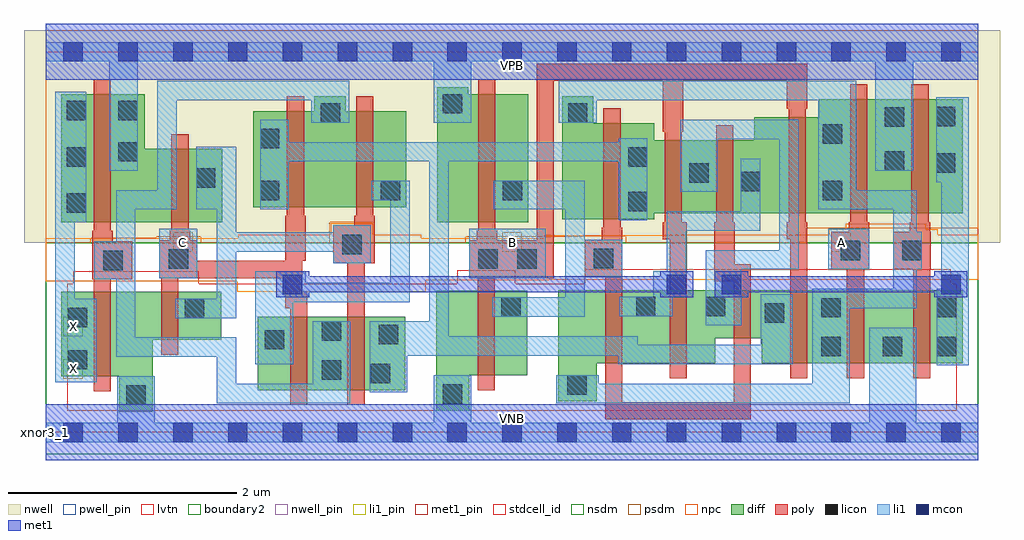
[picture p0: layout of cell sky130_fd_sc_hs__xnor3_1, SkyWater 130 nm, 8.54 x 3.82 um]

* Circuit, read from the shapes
.subckt sky130_fd_sc_hs__xnor3_1 A B C VGND VNB VPB VPWR X
XM1 VGND n1 X VNB sky130_fd_pr__nfet_01v8_lvt w=0.74 l=0.15
XM2 n2 C VGND VNB sky130_fd_pr__nfet_01v8_lvt w=0.42 l=0.15
XM3 n1 C n3 VNB sky130_fd_pr__nfet_01v8_lvt w=0.64 l=0.15
XM4 n4 n2 n1 VNB sky130_fd_pr__nfet_01v8_lvt w=0.64 l=0.15
XM5 n5 B VGND VNB sky130_fd_pr__nfet_01v8_lvt w=0.74 l=0.15
XM6 n3 n5 n6 VNB sky130_fd_pr__nfet_01v8_lvt w=0.64 l=0.15
XM7 n7 B n3 VNB sky130_fd_pr__nfet_01v8_lvt w=0.64 l=0.15
XM8 n4 n5 n7 VNB sky130_fd_pr__nfet_01v8_lvt w=0.42 l=0.15
XM9 n6 B n4 VNB sky130_fd_pr__nfet_01v8_lvt w=0.64 l=0.15
XM10 VGND A n6 VNB sky130_fd_pr__nfet_01v8_lvt w=0.64 l=0.15
XM11 n7 n6 VGND VNB sky130_fd_pr__nfet_01v8_lvt w=0.64 l=0.15
XM12 VPWR n1 X VPB sky130_fd_pr__pfet_01v8 w=1.12 l=0.15
XM13 n2 C VPWR VPB sky130_fd_pr__pfet_01v8 w=0.64 l=0.15
XM14 n1 C n4 VPB sky130_fd_pr__pfet_01v8 w=0.84 l=0.15
XM15 n3 n2 n1 VPB sky130_fd_pr__pfet_01v8 w=0.84 l=0.15
XM16 n5 B VPWR VPB sky130_fd_pr__pfet_01v8 w=1.12 l=0.15
XM17 n4 n5 n6 VPB sky130_fd_pr__pfet_01v8 w=0.84 l=0.15
XM18 n7 B n4 VPB sky130_fd_pr__pfet_01v8 w=0.64 l=0.15
XM19 n3 n5 n7 VPB sky130_fd_pr__pfet_01v8 w=0.64 l=0.15
XM20 n6 B n3 VPB sky130_fd_pr__pfet_01v8 w=0.84 l=0.15
XM21 VPWR A n6 VPB sky130_fd_pr__pfet_01v8 w=1 l=0.15
XM22 n7 n6 VPWR VPB sky130_fd_pr__pfet_01v8 w=1 l=0.15
.ends

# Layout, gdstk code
import gdstk
lib = gdstk.Library(unit=1e-6, precision=1e-09)
def R(c, l, rs):  # rectangles x0, y0, x1, y1
    for r in rs: c.add(gdstk.rectangle(r[:2], r[2:], *l))
def A(c, l, x, y, w, h, nx, ny, dx, dy):  # array of equal rectangles
    R(c, l, [(x+i*dx, y+j*dy, x+i*dx+w, y+j*dy+h) for i in range(nx) for j in range(ny)])
def P(c, l, *ps):  # polygons
    for p in ps: c.add(gdstk.Polygon(p, *l))
nwell_pin = (64, 16)
nwell = (64, 20)
diff = (65, 20)
poly = (66, 20)
licon = (66, 44)
li1_pin = (67, 16)
li1 = (67, 20)
mcon = (67, 44)
met1_pin = (68, 16)
met1 = (68, 20)
stdcell_id = (81, 4)
nsdm = (93, 44)
psdm = (94, 20)
npc = (95, 20)
pwell_pin = (122, 16)
lvtn = (125, 44)
boundary2 = (236, 0)

sky130_fd_sc_hs__xnor3_1 = lib.new_cell('sky130_fd_sc_hs__xnor3_1')
R(sky130_fd_sc_hs__xnor3_1, nwell_pin, [(0,3.085,8.16,3.33)])
R(sky130_fd_sc_hs__xnor3_1, nwell, [(-0.19,1.66,8.35,3.52)])
R(sky130_fd_sc_hs__xnor3_1, diff, [(1.855,0.37,3.145,1.01)])
P(sky130_fd_sc_hs__xnor3_1, diff, [(1.545,2.48),(0.865,2.48),(0.865,2.96),(0.135,2.96),(0.135,1.84),(1.545,1.84)],
  [(1.535,1.23),(0.135,1.23),(0.135,0.49),(0.645,0.49),(0.645,0.18),(0.935,0.18),(0.935,0.81),(1.535,0.81)],
  [(3.155,2.81),(2.625,2.81),(2.625,2.94),(2.35,2.94),(2.35,2.81),(1.815,2.81),(1.815,1.97),(3.155,1.97)],
  [(4.215,1.24),(3.415,1.24),(3.415,0.19),(3.705,0.19),(3.705,0.5),(4.215,0.5)],
  [(4.22,2.96),(3.695,2.96),(3.695,3.02),(3.425,3.02),(3.425,1.84),(4.22,1.84)],
  [(8.025,2.915),(6.765,2.915),(6.765,2.755),(6.2,2.755),(6.2,2.555),(5.325,2.555),(5.325,2.705),(4.79,2.705),(4.79,2.94),(4.52,2.94),(4.52,1.865),(5.325,1.865),(5.325,1.915),(8.025,1.915)],
  [(8.025,1.245),(4.485,1.245),(4.485,0.27),(4.82,0.27),(4.82,0.605),(5.86,0.605),(5.86,0.825),(6.265,0.825),(6.265,0.605),(8.025,0.605)])
P(sky130_fd_sc_hs__xnor3_1, poly, [(7.745,1.755),(7.74,1.755),(7.74,1.84),(7.725,1.84),(7.725,3.045),(7.575,3.045),(7.575,1.84),(7.56,1.84),(7.56,1.755),(7.415,1.755),(7.415,1.425),(7.59,1.425),(7.59,0.475),(7.74,0.475),(7.74,1.425),(7.745,1.425)],
  [(7.205,1.84),(7.19,1.84),(7.19,3.045),(7.04,3.045),(7.04,1.84),(7.025,1.84),(7.025,1.755),(6.875,1.755),(6.875,1.425),(7.01,1.425),(7.01,0.475),(7.16,0.475),(7.16,1.425),(7.205,1.425)],
  [(6.665,1.84),(6.65,1.84),(6.65,2.83),(6.665,2.83),(6.665,3.225),(4.295,3.225),(4.295,1.68),(3.95,1.68),(3.95,1.765),(3.935,1.765),(3.935,3.09),(3.785,3.09),(3.785,1.765),(3.77,1.765),(3.77,1.68),(3.705,1.68),(3.705,1.35),(3.78,1.35),(3.78,0.37),(3.93,0.37),(3.93,1.35),(4.445,1.35),(4.445,3.075),(5.4,3.075),(5.4,2.63),(5.415,2.63),(5.415,1.84),(5.4,1.84),(5.4,1.69),(5.46,1.69),(5.46,0.475),(5.61,0.475),(5.61,1.84),(5.565,1.84),(5.565,2.63),(5.58,2.63),(5.58,3.075),(6.485,3.075),(6.485,2.83),(6.5,2.83),(6.5,1.84),(6.485,1.84),(6.485,1.69),(6.515,1.69),(6.515,0.475),(6.665,0.475)],
  [(6.17,1.47),(6.03,1.47),(6.03,1.84),(6.015,1.84),(6.015,2.685),(5.865,2.685),(5.865,1.84),(5.85,1.84),(5.85,1.32),(6.02,1.32),(6.02,0.265),(5.045,0.265),(5.045,1.79),(5.03,1.79),(5.03,2.835),(4.88,2.835),(4.88,1.79),(4.865,1.79),(4.865,1.685),(4.715,1.685),(4.715,1.355),(4.895,1.355),(4.895,0.115),(6.17,0.115)],
  [(2.88,1.895),(2.865,1.895),(2.865,2.94),(2.715,2.94),(2.715,1.895),(2.7,1.895),(2.7,1.81),(2.515,1.81),(2.515,1.48),(2.64,1.48),(2.64,0.24),(2.79,0.24),(2.79,1.48),(2.88,1.48)],
  [(2.29,1.235),(2.245,1.235),(2.245,1.5),(2.275,1.5),(2.275,1.895),(2.26,1.895),(2.26,2.94),(2.11,2.94),(2.11,1.895),(2.095,1.895),(2.095,1.5),(1.325,1.5),(1.325,1.68),(1.265,1.68),(1.265,1.765),(1.25,1.765),(1.25,2.61),(1.1,2.61),(1.1,1.765),(1.085,1.765),(1.085,1.68),(0.995,1.68),(0.995,1.35),(1.01,1.35),(1.01,0.68),(1.16,0.68),(1.16,1.35),(2.095,1.35),(2.095,1.085),(2.14,1.085),(2.14,0.24),(2.29,0.24)],
  [(0.755,1.67),(0.585,1.67),(0.585,1.765),(0.57,1.765),(0.57,3.09),(0.42,3.09),(0.42,1.765),(0.405,1.765),(0.405,1.34),(0.42,1.34),(0.42,0.36),(0.57,0.36),(0.57,1.34),(0.755,1.34)])
A(sky130_fd_sc_hs__xnor3_1, licon, 0.185, 1.92, 0.17, 0.17, 1, 3, 0, 0.405)
R(sky130_fd_sc_hs__xnor3_1, licon, [(0.705,0.24,0.875,0.41), (3.475,0.25,3.645,0.42), (4.565,0.33,4.735,0.5), (2.845,0.43,3.015,0.6), (2.415,0.46,2.585,0.63), (0.195,0.55,0.365,0.72), (6.785,0.665,6.955,0.835), (7.325,0.665,7.495,0.835), (7.795,0.665,7.965,0.835), (1.915,0.725,2.085,0.895), (2.915,0.77,3.085,0.94), (2.415,0.8,2.585,0.97), (0.195,0.92,0.365,1.09), (6.29,0.96,6.46,1.13), (1.215,1,1.385,1.17), (6.785,1.005,6.955,1.175), (7.795,1.005,7.965,1.175), (3.985,1.01,4.155,1.18), (5.165,1.015,5.335,1.185), (5.775,1.015,5.945,1.185), (0.505,1.42,0.675,1.59), (1.075,1.43,1.245,1.6), (3.785,1.43,3.955,1.6), (4.125,1.43,4.295,1.6), (4.795,1.435,4.965,1.605), (6.955,1.505,7.125,1.675), (7.495,1.505,7.665,1.675), (2.595,1.56,2.765,1.73), (5.095,1.935,5.265,2.105), (1.875,2.03,2.045,2.2), (2.93,2.03,3.1,2.2), (4,2.03,4.17,2.2), (6.8,2.03,6.97,2.2), (6.08,2.11,6.25,2.28), (1.315,2.14,1.485,2.31), (5.63,2.185,5.8,2.355), (7.79,2.27,7.96,2.44), (7.34,2.29,7.51,2.46), (5.095,2.325,5.265,2.495), (0.635,2.37,0.805,2.54), (1.875,2.485,2.045,2.655), (6.8,2.525,6.97,2.695), (7.34,2.675,7.51,2.845), (7.79,2.68,7.96,2.85), (2.405,2.71,2.575,2.88), (4.57,2.71,4.74,2.88), (0.635,2.73,0.805,2.9), (3.475,2.79,3.645,2.96)])
A(sky130_fd_sc_hs__xnor3_1, li1_pin, 1.115, 1.58, 0.17, 0.17, 3, 1, 2.88, 0)
R(sky130_fd_sc_hs__xnor3_1, li1_pin, [(0.155,0.47,0.325,0.64), (0.155,0.84,0.325,1.01)])
R(sky130_fd_sc_hs__xnor3_1, li1, [(0.995,1.35,1.325,1.78), (3.705,1.35,4.375,1.78), (6.845,1.425,7.205,1.78)])
P(sky130_fd_sc_hs__xnor3_1, li1, [(0,3.245),(0,3.415),(8.16,3.415),(8.16,3.245),(7.59,3.245),(7.59,2.29),(7.26,2.29),(7.26,3.245),(3.725,3.245),(3.725,2.71),(3.395,2.71),(3.395,3.245),(0.805,3.245),(0.805,2.29),(0.555,2.29),(0.555,3.245)],
  [(0,-0.085),(0,0.085),(0.625,0.085),(0.625,0.49),(0.955,0.49),(0.955,0.085),(3.395,0.085),(3.395,0.5),(3.725,0.5),(3.725,0.085),(7.205,0.085),(7.205,0.915),(7.615,0.915),(7.615,0.085),(8.16,0.085),(8.16,-0.085)],
  [(0.085,0.44),(0.085,2.98),(0.355,2.98),(0.355,1.84),(0.255,1.84),(0.255,1.17),(0.445,1.17),(0.445,0.44)],
  [(2.835,0.35),(2.835,0.97),(3.355,0.97),(3.355,2.37),(2.125,2.37),(2.125,1.95),(1.875,1.95),(1.875,2.735),(2.125,2.735),(2.125,2.54),(5.015,2.54),(5.015,2.575),(5.265,2.575),(5.265,1.855),(5.015,1.855),(5.015,2.37),(3.525,2.37),(3.525,0.84),(5.18,0.84),(5.18,0.765),(6.255,0.765),(6.255,1.21),(6.535,1.21),(6.535,0.595),(5.01,0.595),(5.01,0.67),(3.165,0.67),(3.165,0.35)],
  [(7.62,1.085),(7.035,1.085),(7.035,0.255),(4.465,0.255),(4.465,0.5),(4.84,0.5),(4.84,0.425),(6.705,0.425),(6.705,1.255),(7.415,1.255),(7.415,1.95),(6.76,1.95),(6.76,2.905),(4.82,2.905),(4.82,2.71),(4.49,2.71),(4.49,3.075),(7.09,3.075),(7.09,2.12),(7.62,2.12),(7.62,1.755),(7.665,1.755),(7.665,1.425),(7.62,1.425)],
  [(7.79,2.19),(7.79,2.93),(8.075,2.93),(8.075,0.585),(7.795,0.585),(7.795,1.255),(7.835,1.255),(7.835,2.19)],
  [(6.59,2.735),(6.59,1.425),(6.085,1.425),(6.085,0.935),(5.775,0.935),(5.775,1.595),(6.42,1.595),(6.42,2.565),(5.88,2.565),(5.88,2.105),(5.55,2.105),(5.55,2.735)],
  [(5.315,1.185),(5.315,1.41),(5.435,1.41),(5.435,1.935),(6.08,1.935),(6.08,2.395),(6.25,2.395),(6.25,1.765),(5.605,1.765),(5.605,1.18),(5.485,1.18),(5.485,1.015),(5.02,1.015),(5.02,1.185)],
  [(1.665,0.425),(2.335,0.425),(2.335,0.97),(2.665,0.97),(2.665,0.255),(1.495,0.255),(1.495,0.66),(0.615,0.66),(0.615,1.34),(0.425,1.34),(0.425,1.67),(0.615,1.67),(0.615,2.12),(0.975,2.12),(0.975,3.075),(2.655,3.075),(2.655,2.71),(2.325,2.71),(2.325,2.905),(1.145,2.905),(1.145,1.95),(0.785,1.95),(0.785,0.83),(1.665,0.83)],
  [(3.015,1.31),(3.015,2.03),(2.85,2.03),(2.85,2.2),(3.185,2.2),(3.185,1.14),(2.165,1.14),(2.165,0.595),(1.835,0.595),(1.835,1.41),(2.275,1.41),(2.275,1.31)],
  [(1.665,1.75),(2.515,1.75),(2.515,1.81),(2.845,1.81),(2.845,1.48),(2.515,1.48),(2.515,1.58),(1.665,1.58),(1.665,1),(1.135,1),(1.135,1.17),(1.495,1.17),(1.495,1.95),(1.315,1.95),(1.315,2.5),(1.665,2.5)],
  [(3.905,1.01),(3.905,1.18),(4.545,1.18),(4.545,1.95),(3.92,1.95),(3.92,2.2),(4.715,2.2),(4.715,1.685),(5.045,1.685),(5.045,1.355),(4.715,1.355),(4.715,1.01)])
A(sky130_fd_sc_hs__xnor3_1, mcon, 0.155, -0.085, 0.17, 0.17, 17, 2, 0.48, 3.33)
R(sky130_fd_sc_hs__xnor3_1, mcon, [(2.075,1.21,2.245,1.38), (5.435,1.21,5.605,1.38), (5.915,1.21,6.085,1.38), (7.835,1.21,8.005,1.38)])
R(sky130_fd_sc_hs__xnor3_1, met1_pin, [(0,0,8.16,0.245), (0,3.085,8.16,3.33)])
R(sky130_fd_sc_hs__xnor3_1, met1, [(0,-0.245,8.16,0.245), (0,3.085,8.16,3.575)])
P(sky130_fd_sc_hs__xnor3_1, met1, [(6.145,1.365),(7.775,1.365),(7.775,1.41),(8.065,1.41),(8.065,1.18),(7.775,1.18),(7.775,1.225),(6.145,1.225),(6.145,1.18),(5.855,1.18),(5.855,1.41),(6.145,1.41)],
  [(2.015,1.18),(2.015,1.41),(2.305,1.41),(2.305,1.365),(5.375,1.365),(5.375,1.41),(5.665,1.41),(5.665,1.18),(5.375,1.18),(5.375,1.225),(2.305,1.225),(2.305,1.18)])
R(sky130_fd_sc_hs__xnor3_1, stdcell_id, [(0,0,8.16,3.33)])
R(sky130_fd_sc_hs__xnor3_1, nsdm, [(0,-0.19,8.16,1.66)])
P(sky130_fd_sc_hs__xnor3_1, psdm, [(8.16,3.52),(0,3.52),(0,1.66),(0.395,1.66),(0.395,1.7),(0.965,1.7),(0.965,1.71),(1.355,1.71),(1.355,1.66),(2.485,1.66),(2.485,1.84),(2.875,1.84),(2.875,1.66),(3.675,1.66),(3.675,1.71),(4.685,1.71),(4.685,1.715),(5.075,1.715),(5.075,1.66),(6.655,1.66),(6.655,1.785),(8.16,1.785)])
P(sky130_fd_sc_hs__xnor3_1, npc, [(8.16,1.73),(7.805,1.73),(7.805,1.775),(7.7,1.775),(7.7,1.825),(7,1.825),(7,1.775),(6.855,1.775),(6.855,1.73),(5.465,1.73),(5.465,1.725),(4.36,1.725),(4.36,1.7),(3.285,1.7),(3.285,1.73),(2.865,1.73),(2.865,1.83),(2.495,1.83),(2.495,1.73),(1.685,1.73),(1.685,1.7),(0,1.7),(0,1.32),(1.675,1.32),(1.675,1.23),(3.325,1.23),(3.325,1.33),(4.395,1.33),(4.395,1.335),(8.16,1.335)])
R(sky130_fd_sc_hs__xnor3_1, pwell_pin, [(0,0,8.16,0.245)])
P(sky130_fd_sc_hs__xnor3_1, lvtn, [(7.97,1.3),(7.92,1.3),(7.92,1.425),(4.715,1.425),(4.715,1.3),(4.11,1.3),(4.11,1.42),(3.6,1.42),(3.6,1.3),(1.34,1.3),(1.34,1.41),(0.24,1.41),(0.24,1.3),(0.19,1.3),(0.19,0.19),(7.97,0.19)])
R(sky130_fd_sc_hs__xnor3_1, boundary2, [(0,0,8.16,3.33)])
sky130_fd_sc_hs__xnor3_1.add(gdstk.Label('xnor3_1', (0,0), layer=83, texttype=44))
sky130_fd_sc_hs__xnor3_1.add(gdstk.Label('VNB', (4.08,0.123), layer=64, texttype=59))
sky130_fd_sc_hs__xnor3_1.add(gdstk.Label('VPB', (4.08,3.208), layer=64, texttype=5))
sky130_fd_sc_hs__xnor3_1.add(gdstk.Label('VPWR', (4.08,3.208), layer=68, texttype=5))
sky130_fd_sc_hs__xnor3_1.add(gdstk.Label('VGND', (4.08,0.123), layer=68, texttype=5))
sky130_fd_sc_hs__xnor3_1.add(gdstk.Label('X', (0.24,0.555), layer=67, texttype=5))
sky130_fd_sc_hs__xnor3_1.add(gdstk.Label('X', (0.24,0.925), layer=67, texttype=5))
sky130_fd_sc_hs__xnor3_1.add(gdstk.Label('B', (4.08,1.665), layer=67, texttype=5))
sky130_fd_sc_hs__xnor3_1.add(gdstk.Label('C', (1.2,1.665), layer=67, texttype=5))
sky130_fd_sc_hs__xnor3_1.add(gdstk.Label('A', (6.96,1.665), layer=67, texttype=5))

lib.write_gds('sky130_fd_sc_hs__xnor3_1.gds')
